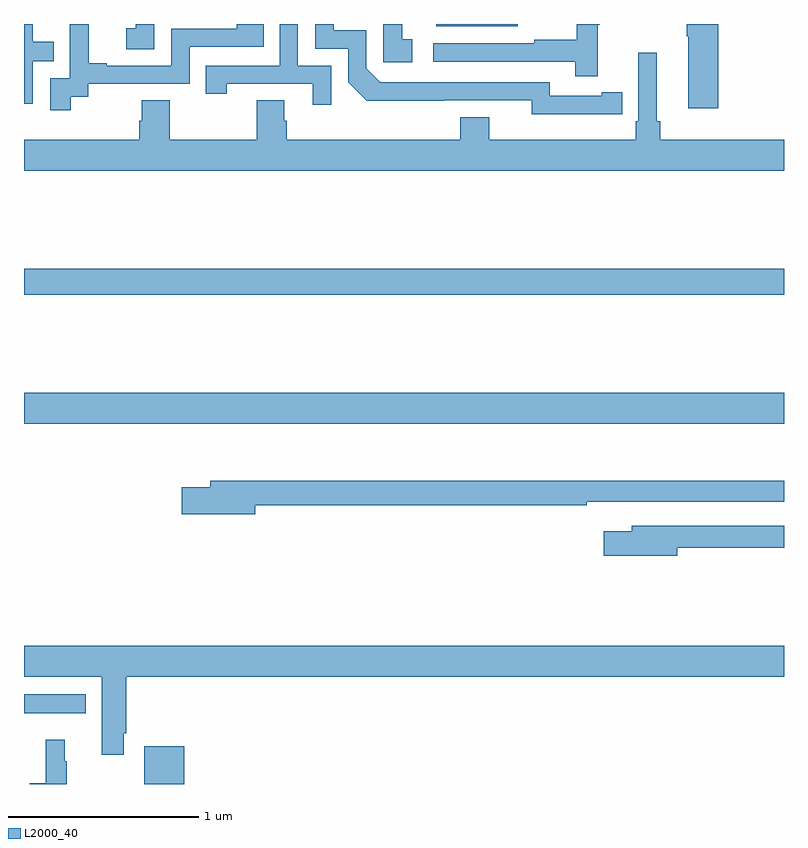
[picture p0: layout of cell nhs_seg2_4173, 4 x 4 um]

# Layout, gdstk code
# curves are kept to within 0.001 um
import gdstk
lib = gdstk.Library(unit=1e-6, precision=1e-09)
def R(c, l, rs):  # rectangles x0, y0, x1, y1
    for r in rs: c.add(gdstk.rectangle(r[:2], r[2:], *l))
def P(c, l, *ps):  # polygons
    for p in ps: c.add(gdstk.Polygon(p, *l))
L2000_40 = (2000, 40)

nhs_seg2_4173 = lib.new_cell('nhs_seg2_4173')
R(nhs_seg2_4173, L2000_40, [(337.634,585.8,337.843,586), (337,586.172,337.324,586.273), (337,587.696,341,587.86), (337,588.376,341,588.512), (339.17,589.787,339.598,589.8)])
P(nhs_seg2_4173, L2000_40, [(337.246,589.417),(337.338,589.417),(337.338,589.485),(337.872,589.485),(337.872,589.68),(338.261,589.68),(338.261,589.8),(338.121,589.8),(338.121,589.776),(337.776,589.776),(337.776,589.581),(337.435,589.581),(337.435,589.594),(337.34,589.594),(337.34,589.8),(337.241,589.8),(337.241,589.745),(337.242,589.745),(337.242,589.515),(337.137,589.515),(337.137,589.347),(337.246,589.347)],
  [(337.047,589.605),(337.157,589.605),(337.157,589.706),(337.047,589.706),(337.047,589.8),(337,589.8),(337,589.38),(337.047,589.38)],
  [(339.043,589.719),(338.99,589.719),(338.99,589.8),(338.892,589.8),(338.892,589.599),(339.043,589.599)],
  [(340.04,589.326),(340.148,589.326),(340.148,589.442),(340.04,589.442),(340.04,589.422),(339.768,589.422),(339.768,589.494),(338.874,589.494),(338.802,589.566),(338.802,589.767),(338.629,589.767),(338.629,589.8),(338.532,589.8),(338.532,589.671),(338.706,589.671),(338.706,589.494),(338.804,589.397),(339.672,589.398),(339.672,589.325)],
  [(337.686,589.8),(337.588,589.8),(337.588,589.777),(337.539,589.777),(337.539,589.668),(337.686,589.668)],
  [(338.616,589.581),(338.442,589.581),(338.442,589.8),(338.346,589.8),(338.346,589.581),(337.957,589.581),(337.957,589.434),(338.068,589.434),(338.068,589.485),(338.519,589.485),(338.519,589.374),(338.616,589.374)],
  [(340.655,589.8),(340.489,589.8),(340.489,589.735),(340.496,589.735),(340.496,589.356),(340.655,589.356)],
  [(340.019,589.795),(340.03,589.795),(340.03,589.8),(339.909,589.8),(339.909,589.718),(339.685,589.718),(339.685,589.698),(339.153,589.698),(339.153,589.602),(339.901,589.602),(339.901,589.524),(340.019,589.524)],
  [(341,589.192),(340.349,589.192),(340.349,589.288),(340.33,589.288),(340.33,589.648),(340.233,589.648),(340.233,589.288),(340.22,589.288),(340.22,589.192),(339.448,589.192),(339.448,589.309),(339.296,589.309),(339.296,589.192),(338.384,589.192),(338.384,589.29),(338.371,589.29),(338.371,589.4),(338.224,589.4),(338.224,589.192),(337.767,589.192),(337.767,589.4),(337.619,589.4),(337.619,589.29),(337.607,589.29),(337.607,589.192),(337,589.192),(337,589.028),(341,589.028)],
  [(338.218,587.266),(339.962,587.266),(339.962,587.286),(341,587.286),(341,587.395),(337.979,587.395),(337.979,587.361),(337.83,587.361),(337.83,587.219),(338.218,587.219)],
  [(340.438,587.044),(341,587.044),(341,587.16),(340.199,587.16),(340.199,587.131),(340.05,587.131),(340.05,587.002),(340.438,587.002)],
  [(337.525,586.066),(337.538,586.066),(337.538,586.364),(341,586.364),(341,586.528),(337,586.528),(337,586.364),(337.409,586.364),(337.409,585.954),(337.525,585.954)],
  [(337.225,585.92),(337.214,585.92),(337.214,586.033),(337.115,586.033),(337.115,585.804),(337.031,585.804),(337.031,585.8),(337.225,585.8)])

lib.write_gds('nhs_seg2_4173.gds')
